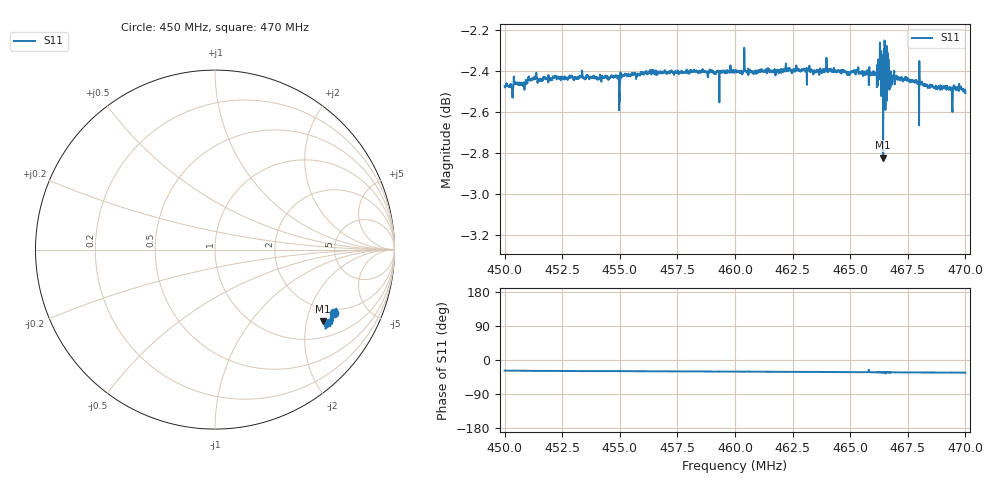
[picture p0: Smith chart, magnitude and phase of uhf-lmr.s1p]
! Calibrated averaged scanner-service zoom
# Hz S RI R 50
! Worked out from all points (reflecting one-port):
!   2001 points, 450 MHz to 470 MHz, reference 50 ohm
!   lowest |S11| = -2.8 dB at 466.43 MHz (marker M1), VSWR 6.21, Z = 74.8 - j125 ohm
!   phase of S11 starts at -28 deg and turns -5 deg over the sweep
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4.5e8  0.6636 -0.354
4.5078e8  0.6619 -0.3572
4.5131e8  0.6624 -0.3622
4.525e8  0.661 -0.3659
4.5328e8  0.6599 -0.3694
4.55e8  0.6511 -0.3774
4.551e8  0.6584 -0.3723
4.575e8  0.6561 -0.379
4.6e8  0.6528 -0.3864
4.6214e8  0.6501 -0.3924
4.625e8  0.6476 -0.394
4.65e8  0.6422 -0.4014
4.6568e8  0.6416 -0.4033
4.6573e8  0.641 -0.4041
4.6589e8  0.6397 -0.404
4.6594e8  0.6405 -0.4041
4.662e8  0.641 -0.394
4.6631e8  0.6454 -0.4108
4.6633e8  0.6425 -0.419
4.6643e8  0.6015 -0.4006
4.6646e8  0.6435 -0.4188
4.6651e8  0.6458 -0.4075
4.6658e8  0.6479 -0.4148
4.6664e8  0.6366 -0.3996
4.6669e8  0.6379 -0.4094
4.6679e8  0.6354 -0.4031
4.675e8  0.6351 -0.4085
4.7e8  0.6265 -0.4109
